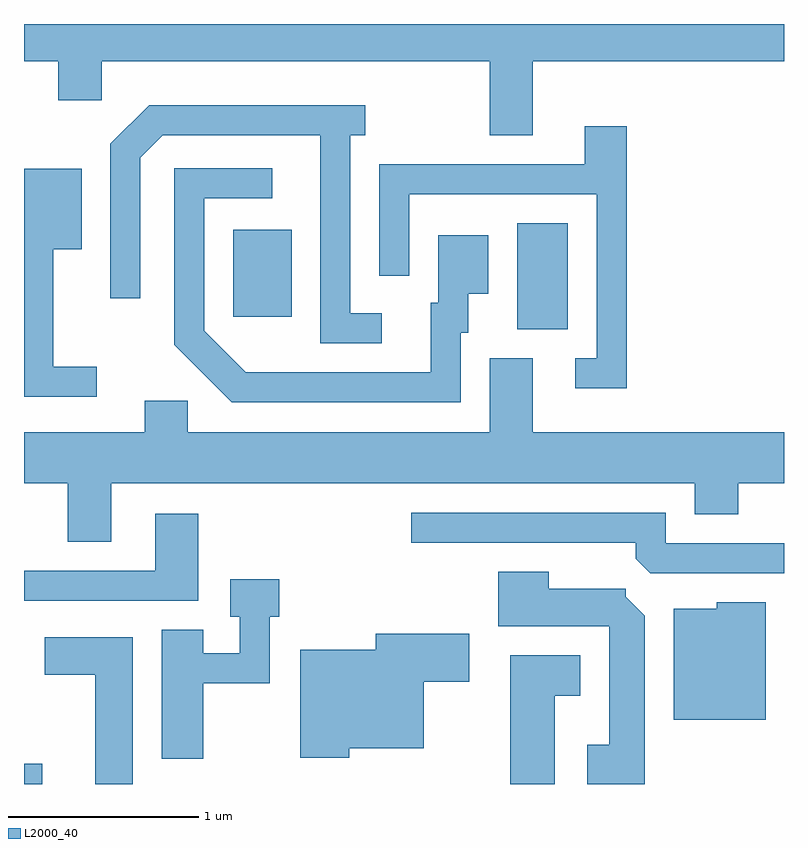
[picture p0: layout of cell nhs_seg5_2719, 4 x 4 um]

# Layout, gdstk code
import gdstk
lib = gdstk.Library(unit=1e-6, precision=1e-09)
def R(c, l, rs):  # rectangles x0, y0, x1, y1
    for r in rs: c.add(gdstk.rectangle(r[:2], r[2:], *l))
def P(c, l, *ps):  # polygons
    for p in ps: c.add(gdstk.Polygon(p, *l))
L2000_40 = (2000, 40)

nhs_seg5_2719 = lib.new_cell('nhs_seg5_2719')
R(nhs_seg5_2719, L2000_40, [(265.611,1484.072,265.708,1484.179), (268.206,1486.466,268.474,1487.024), (266.711,1486.531,267.019,1486.989)])
P(nhs_seg5_2719, L2000_40, [(268.289,1487.876),(269.611,1487.876),(269.611,1488.072),(265.611,1488.072),(265.611,1487.876),(265.791,1487.876),(265.791,1487.671),(266.019,1487.671),(266.019,1487.876),(268.061,1487.876),(268.061,1487.486),(268.289,1487.486)],
  [(267.493,1486.549),(267.329,1486.549),(267.329,1487.486),(267.408,1487.486),(267.408,1487.644),(266.269,1487.644),(266.066,1487.442),(266.066,1486.628),(266.224,1486.628),(266.224,1487.369),(266.342,1487.486),(267.171,1487.486),(267.171,1486.391),(267.493,1486.391)],
  [(268.784,1487.534),(268.561,1487.534),(268.561,1487.334),(267.481,1487.334),(267.481,1486.748),(267.639,1486.748),(267.639,1487.176),(268.626,1487.176),(268.626,1486.314),(268.513,1486.314),(268.513,1486.156),(268.784,1486.156)],
  [(267.909,1486.446),(267.949,1486.446),(267.949,1486.651),(268.054,1486.651),(268.054,1486.959),(267.791,1486.959),(267.791,1486.604),(267.751,1486.604),(267.751,1486.239),(266.777,1486.239),(266.559,1486.457),(266.559,1487.156),(266.918,1487.156),(266.918,1487.314),(266.401,1487.314),(266.401,1486.384),(266.704,1486.081),(267.909,1486.081)],
  [(265.993,1486.269),(265.764,1486.269),(265.764,1486.886),(265.914,1486.886),(265.914,1487.309),(265.611,1487.309),(265.611,1486.111),(265.993,1486.111)],
  [(266.069,1485.656),(269.141,1485.656),(269.141,1485.491),(269.369,1485.491),(269.369,1485.656),(269.611,1485.656),(269.611,1485.924),(268.289,1485.924),(268.289,1486.314),(268.061,1486.314),(268.061,1485.924),(266.474,1485.924),(266.474,1486.089),(266.246,1486.089),(266.246,1485.924),(265.611,1485.924),(265.611,1485.656),(265.841,1485.656),(265.841,1485.346),(266.069,1485.346)],
  [(269.611,1485.339),(268.989,1485.339),(268.989,1485.499),(267.648,1485.499),(267.648,1485.341),(268.831,1485.341),(268.831,1485.257),(268.907,1485.181),(269.611,1485.181)],
  [(266.529,1485.494),(266.301,1485.494),(266.301,1485.194),(265.611,1485.194),(265.611,1485.036),(266.529,1485.036)],
  [(268.879,1484.957),(268.779,1485.057),(268.779,1485.099),(268.374,1485.099),(268.374,1485.189),(268.106,1485.189),(268.106,1484.901),(268.691,1484.901),(268.691,1484.279),(268.576,1484.279),(268.576,1484.072),(268.879,1484.072)],
  [(266.554,1484.601),(266.904,1484.601),(266.904,1484.951),(266.954,1484.951),(266.954,1485.149),(266.696,1485.149),(266.696,1484.951),(266.746,1484.951),(266.746,1484.759),(266.554,1484.759),(266.554,1484.884),(266.336,1484.884),(266.336,1484.206),(266.554,1484.206)],
  [(269.514,1485.029),(269.256,1485.029),(269.256,1484.994),(269.031,1484.994),(269.031,1484.411),(269.514,1484.411)],
  [(267.324,1484.261),(267.714,1484.261),(267.714,1484.611),(267.954,1484.611),(267.954,1484.864),(267.461,1484.864),(267.461,1484.779),(267.066,1484.779),(267.066,1484.211),(267.324,1484.211)],
  [(266.184,1484.844),(265.721,1484.844),(265.721,1484.646),(265.986,1484.646),(265.986,1484.072),(266.184,1484.072)],
  [(268.404,1484.536),(268.539,1484.536),(268.539,1484.749),(268.171,1484.749),(268.171,1484.072),(268.404,1484.072)])

lib.write_gds('nhs_seg5_2719.gds')
